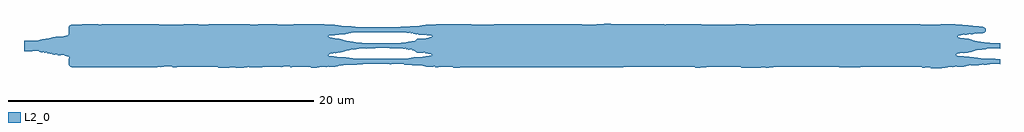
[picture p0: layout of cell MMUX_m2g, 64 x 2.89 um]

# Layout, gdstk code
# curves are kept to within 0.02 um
import gdstk
lib = gdstk.Library(unit=1e-6, precision=1e-09)
def R(c, l, rs):  # rectangles x0, y0, x1, y1
    for r in rs: c.add(gdstk.rectangle(r[:2], r[2:], *l))
def P(c, l, *ps):  # polygons
    for p in ps: c.add(gdstk.Polygon(p, *l))
L2_0 = (2, 0)

mmux_m2g = lib.new_cell('MMUX_m2g')
R(mmux_m2g, L2_0, [(-29.259,-0.616,-23.942,0.631), (-23.942,-0.616,-17.219,0.631)])
P(mmux_m2g, L2_0, [(-30.297,-0.494),(-30.851,-0.417),(-31.079,-0.342),(-32,-0.35),(-32,0.35),(-31.113,0.342),(-30.86,0.417),(-30.297,0.492)],
  [(30.942,-0.218),(30.942,0.23),(31.361,0.175),(32,0.175),(32,-0.175),(31.162,-0.181)],
  [(30.942,-1.24),(30.942,-0.842),(32,-0.863),(32,-1.213),(31.34,-1.202)],
  [(-29.259,-0.644),(-29.964,-0.579),(-30.297,-0.494),(-30.297,0.492),(-29.986,0.579),(-29.726,0.616),(-29.391,0.616),(-29.259,0.654)],
  [(-29.259,0.631),(-29.259,0.654),(-29.113,0.71),(-29.065,0.787),(-29.063,1.199),(-29.021,1.312),(-28.851,1.401),(-23.942,1.414),(-23.942,0.631)],
  [(-26.514,-1.414),(-28.916,-1.376),(-29.031,-1.291),(-29.063,-1.2),(-29.04,-0.762),(-29.079,-0.696),(-29.246,-0.651),(-29.259,-0.616),(-23.942,-0.616),(-23.942,-1.402)],
  [(-23.942,0.631),(-23.942,1.414),(-17.219,1.414),(-17.219,0.631)],
  [(-19.078,-1.439),(-19.918,-1.389),(-21.962,-1.402),(-22.431,-1.364),(-22.824,-1.364),(-23.252,-1.414),(-23.914,-1.414),(-23.942,-1.402),(-23.942,-0.616),(-17.219,-0.616),(-17.219,-1.402),(-17.753,-1.439),(-18.143,-1.414)],
  [(-17.219,0.631),(-17.219,1.414),(-14.331,1.401),(-12.654,1.426),(-12.031,1.401),(-12.031,0.678),(-12.054,0.631)],
  [(-17.219,-0.616),(-17.219,0.631),(-12.054,0.631),(-12.031,0.587),(-12.042,-0.616)],
  [(-13.163,-1.427),(-14.304,-1.414),(-14.669,-1.364),(-15.356,-1.402),(-17.219,-1.402),(-17.219,-0.616),(-12.042,-0.616),(-12.031,-1.364),(-12.307,-1.402)],
  [(-12.031,0.678),(-12.031,1.401),(-11.582,1.364),(-11.582,0.716),(-11.978,0.704)],
  [(-12.031,-0.583),(-12.031,0.587),(-11.582,0.479),(-11.582,-0.468),(-11.966,-0.53)],
  [(-12.031,-1.364),(-12.031,-0.634),(-11.962,-0.68),(-11.582,-0.716),(-11.582,-1.341)],
  [(-11.582,0.716),(-11.582,1.364),(-11.172,1.304),(-11.172,0.754)],
  [(-11.582,-0.468),(-11.582,0.479),(-11.192,0.429),(-11.172,-0.407)],
  [(-11.582,-1.341),(-11.582,-0.716),(-11.172,-0.742),(-11.172,-1.268)],
  [(-11.172,0.754),(-11.172,1.304),(-10.791,1.289),(-10.791,0.804)],
  [(-11.172,-0.407),(-11.171,0.419),(-10.791,0.311),(-10.791,-0.281)],
  [(-11.172,-1.268),(-11.172,-0.742),(-10.791,-0.779),(-10.791,-1.252)],
  [(-10.791,0.804),(-10.791,1.289),(-10.313,1.252),(-10.313,0.879)],
  [(-10.791,-0.281),(-10.791,0.311),(-10.313,0.234),(-10.313,-0.229)],
  [(-10.791,-1.252),(-10.791,-0.779),(-10.313,-0.829),(-10.313,-1.24)],
  [(-10.313,0.879),(-10.313,1.252),(-9.815,1.214),(-8.004,1.215),(-8.004,0.879)],
  [(-10.313,-0.229),(-10.313,0.234),(-9.839,0.18),(-8.004,0.18),(-8.004,-0.168),(-9.551,-0.168),(-10.042,-0.181)],
  [(-10.313,-1.24),(-10.313,-0.829),(-8.004,-0.829),(-8.004,-1.215),(-9.764,-1.202)],
  [(-6.879,0.866),(-8.004,0.879),(-8.004,1.215),(-7.482,1.214),(-7.117,1.264),(-6.792,1.264),(-6.792,0.866)],
  [(-6.795,-0.242),(-7.146,-0.168),(-8.004,-0.168),(-8.004,0.18),(-7.033,0.192),(-6.792,0.261)],
  [(-6.805,-1.252),(-7.307,-1.202),(-8.004,-1.215),(-8.004,-0.829),(-6.792,-0.829)],
  [(-6.378,0.791),(-6.792,0.866),(-6.792,1.264),(-6.359,1.301)],
  [(-6.359,-0.335),(-6.463,-0.282),(-6.792,-0.242),(-6.792,0.261),(-6.359,0.322)],
  [(-6.501,-1.265),(-6.792,-1.252),(-6.792,-0.829),(-6.359,-0.744),(-6.359,-1.265)],
  [(-5.892,0.729),(-6.359,0.791),(-6.359,1.301),(-6.131,1.289),(-5.882,1.338)],
  [(-6.139,-0.455),(-6.277,-0.413),(-6.359,-0.335),(-6.359,0.322),(-6.196,0.465),(-5.919,0.479),(-5.882,0.467),(-5.882,-0.442)],
  [(-6.151,-1.278),(-6.359,-1.265),(-6.359,-0.744),(-5.882,-0.729),(-5.882,-1.278)],
  [(-5.501,0.702),(-5.882,0.729),(-5.882,1.338),(-5.501,1.401)],
  [(-5.501,-0.507),(-5.592,-0.468),(-5.882,-0.442),(-5.882,0.467),(-5.501,0.506)],
  [(-5.501,-1.361),(-5.882,-1.278),(-5.882,-0.729),(-5.501,-0.678)],
  [(-3.84,-1.427),(-5.501,-1.361),(-5.501,-0.678),(-5.302,-0.641),(-5.255,-0.588),(-5.302,-0.531),(-5.501,-0.507),(-5.501,0.506),(-5.302,0.568),(-5.237,0.627),(-5.279,0.691),(-5.501,0.702),(-5.501,1.401),(-3.197,1.414),(-3.197,-1.404)],
  [(-2.356,-1.414),(-2.646,-1.389),(-3.197,-1.404),(-3.197,1.414),(-2.068,1.389),(-1.141,1.414),(5.552,1.401),(6.058,1.439),(6.772,1.424),(6.772,-1.402)],
  [(15.316,-1.439),(14.341,-1.402),(12.312,-1.427),(6.772,-1.402),(6.772,1.424),(15.975,1.401),(21.444,1.426),(21.444,-1.398),(17.955,-1.389)],
  [(27.479,-1.452),(26.751,-1.402),(25.398,-1.389),(23.942,-1.389),(23.776,-1.414),(21.448,-1.4),(21.444,1.426),(29.205,1.401),(29.205,-0.502),(29.125,-0.557),(29.131,-0.617),(29.205,-0.657),(29.205,-1.373),(28.159,-1.452)],
  [(29.205,-0.502),(29.205,1.401),(29.661,1.364),(29.686,1.352),(29.686,0.729),(29.339,0.704),(29.259,0.67),(29.237,0.606),(29.26,0.562),(29.338,0.529),(29.686,0.479),(29.686,-0.455)],
  [(29.215,-1.377),(29.205,-0.657),(29.686,-0.704),(29.686,-1.339),(29.498,-1.377)],
  [(29.686,0.729),(29.686,1.352),(30.092,1.314),(30.092,0.775)],
  [(29.686,-0.455),(29.686,0.479),(30.088,0.411),(30.092,-0.397)],
  [(29.686,-1.339),(29.686,-0.704),(30.091,-0.731),(30.092,-1.265)],
  [(30.092,0.775),(30.092,1.314),(30.475,1.289),(30.475,0.816)],
  [(30.092,-0.397),(30.092,0.409),(30.475,0.293),(30.475,-0.268)],
  [(30.092,-1.265),(30.092,-0.732),(30.475,-0.78),(30.475,-1.265)],
  [(30.475,0.816),(30.475,1.289),(30.942,1.225),(30.942,0.866)],
  [(30.475,-0.268),(30.475,0.293),(30.942,0.23),(30.942,-0.218)],
  [(30.475,-1.265),(30.475,-0.78),(30.942,-0.842),(30.942,-1.24)],
  [(30.942,0.866),(30.942,1.225),(31.03,1.166),(31.074,1.079),(31.074,1.014),(31.044,0.942),(30.991,0.887)])

lib.write_gds('MMUX_m2g.gds')
